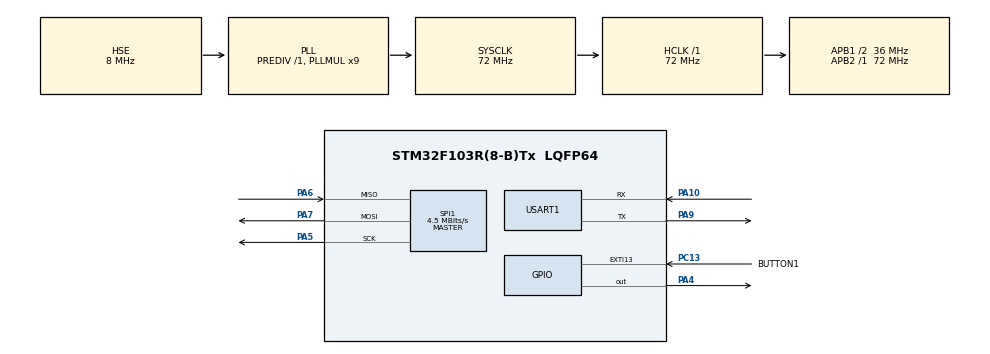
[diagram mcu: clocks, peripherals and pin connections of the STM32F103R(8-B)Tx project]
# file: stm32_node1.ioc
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FREERTOS.Tasks01=defaultTask,24,128,StartDefaultTask,Default,NULL,Dynamic,NULL,NULL
FREERTOS.configUSE_NEWLIB_REENTRANT=1
Mcu.Family=STM32F1
Mcu.Name=STM32F103R(8-B)Tx
Mcu.Package=LQFP64
NVIC.EXTI15_10_IRQn=true\:5\:0\:false\:false\:true\:true\:true\:true\:true
NVIC.PriorityGroup=NVIC_PRIORITYGROUP_4
NVIC.SPI1_IRQn=true\:5\:0\:false\:false\:true\:true\:true\:true\:true
NVIC.TIM2_IRQn=true\:15\:0\:false\:false\:true\:false\:false\:true\:true
NVIC.TimeBase=TIM2_IRQn
NVIC.TimeBaseIP=TIM2
NVIC.USART1_IRQn=true\:5\:0\:false\:false\:true\:true\:true\:true\:true
PA10.Mode=Asynchronous
PA10.Signal=USART1_RX
PA13.Mode=Serial_Wire
PA13.Signal=SYS_JTMS-SWDIO
PA14.Mode=Serial_Wire
PA14.Signal=SYS_JTCK-SWCLK
PA4.Signal=GPIO_Output
PA5.Mode=Full_Duplex_Master
PA5.Signal=SPI1_SCK
PA6.Mode=Full_Duplex_Master
PA6.Signal=SPI1_MISO
PA7.Mode=Full_Duplex_Master
PA7.Signal=SPI1_MOSI
PA9.Mode=Asynchronous
PA9.Signal=USART1_TX
PC13-TAMPER-RTC.GPIO_Label=BUTTON1
PC13-TAMPER-RTC.Signal=GPXTI13
PC14-OSC32_IN.Mode=LSE-External-Oscillator
PC14-OSC32_IN.Signal=RCC_OSC32_IN
PC15-OSC32_OUT.Mode=LSE-External-Oscillator
PC15-OSC32_OUT.Signal=RCC_OSC32_OUT
PD0-OSC_IN.Mode=HSE-External-Oscillator
PD0-OSC_IN.Signal=RCC_OSC_IN
PD1-OSC_OUT.Mode=HSE-External-Oscillator
PD1-OSC_OUT.Signal=RCC_OSC_OUT
ProjectManager.HeapSize=0x200
ProjectManager.StackSize=0x400
ProjectManager.TargetToolchain=STM32CubeIDE
RCC.AHBFreq_Value=72000000
RCC.APB1CLKDivider=RCC_HCLK_DIV2
RCC.APB1Freq_Value=36000000
RCC.APB1TimFreq_Value=72000000
RCC.APB2Freq_Value=72000000
RCC.APB2TimFreq_Value=72000000
RCC.HCLKFreq_Value=72000000
RCC.PLLMUL=RCC_PLL_MUL9
RCC.PLLSourceVirtual=RCC_PLLSOURCE_HSE
RCC.SYSCLKFreq_VALUE=72000000
RCC.SYSCLKSource=RCC_SYSCLKSOURCE_PLLCLK
RCC.USBFreq_Value=72000000
SPI1.BaudRatePrescaler=SPI_BAUDRATEPRESCALER_16
SPI1.CalculateBaudRate=4.5 MBits/s
SPI1.Direction=SPI_DIRECTION_2LINES
SPI1.Mode=SPI_MODE_MASTER
SPI1.VirtualType=VM_MASTER
USART1.VirtualMode=VM_ASYNC
VP_FREERTOS_VS_CMSIS_V2.Mode=CMSIS_V2
VP_SYS_VS_tim2.Mode=TIM2
board=custom

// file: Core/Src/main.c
/* USER CODE BEGIN Header */
/**
  ******************************************************************************
  * @file           : main.c
  * @brief          : Main program body
  ******************************************************************************
  * @attention
  *
  * Copyright (c) 2025 STMicroelectronics.
  * All rights reserved.
  *
  * This software is licensed under terms that can be found in the LICENSE file
  * in the root directory of this software component.
  * If no LICENSE file comes with this software, it is provided AS-IS.
  *
  ******************************************************************************
  */
/* USER CODE END Header */
#include "main.h"
#include "cmsis_os.h"
#include "spi.h"
#include "usart.h"
#include "gpio.h"

/* USER CODE BEGIN Includes */
#include <stdio.h>
#include "drivers/mcp2515/mcp2515_comm.h"

/* USER CODE END Includes */

void SystemClock_Config(void);
void MX_FREERTOS_Init(void);

/* USER CODE BEGIN 0 */
#include "usart.h"  // CubeMX가 생성한 UART 핸들러 선언

int _write(int file, char *ptr, int len)
{
    // UART 송신 (Blocking)
    HAL_UART_Transmit(&huart1, (uint8_t *)ptr, len, HAL_MAX_DELAY);
    return len;
}

void vApplicationMallocFailedHook(void) {
    printf("ERROR: FreeRTOS malloc failed!\r\n");
    while (1);  // 무한 루프로 디버깅 멈추게
}

/* USER CODE END 0 */

int main(void)
{

  /* MCU Configuration--------------------------------------------------------*/

  /* Reset of all peripherals, Initializes the Flash interface and the Systick. */
  HAL_Init();

  /* Configure the system clock */
  SystemClock_Config();

  /* Initialize all configured peripherals */
  MX_GPIO_Init();
  MX_USART1_UART_Init();
  MX_SPI1_Init();
  /* USER CODE BEGIN 2 */
  HAL_Delay(2000);  // UART 준비될 시간 확보
  printf("Hello from STM32 debug console!\r\n");

  printf("MCP2515 init %s.\r\n", MCP2515_Initialize() == HAL_OK ? "success" : "failed");
  printf("MCP2515 InitMessageQueues %s.\r\n", MCP2515_InitMessageQueues() == HAL_OK ? "success" : "failed");
  /* USER CODE END 2 */

  /* Init scheduler */
  osKernelInitialize();

  /* Call init function for freertos objects (in cmsis_os2.c) */
  MX_FREERTOS_Init();

  /* Start scheduler */
  osKernelStart();

  /* We should never get here as control is now taken by the scheduler */

  /* Infinite loop */
  while (1)
  {

  }
}

void SystemClock_Config(void)
{
  RCC_OscInitTypeDef RCC_OscInitStruct = {0};
  RCC_ClkInitTypeDef RCC_ClkInitStruct = {0};

  /** Initializes the RCC Oscillators according to the specified parameters
  * in the RCC_OscInitTypeDef structure.
  */
  RCC_OscInitStruct.OscillatorType = RCC_OSCILLATORTYPE_HSE;
  RCC_OscInitStruct.HSEState = RCC_HSE_ON;
  RCC_OscInitStruct.HSEPredivValue = RCC_HSE_PREDIV_DIV1;
  RCC_OscInitStruct.HSIState = RCC_HSI_ON;
  RCC_OscInitStruct.PLL.PLLState = RCC_PLL_ON;
  RCC_OscInitStruct.PLL.PLLSource = RCC_PLLSOURCE_HSE;
  RCC_OscInitStruct.PLL.PLLMUL = RCC_PLL_MUL9;
  if (HAL_RCC_OscConfig(&RCC_OscInitStruct) != HAL_OK)
  {
    Error_Handler();
  }

  /** Initializes the CPU, AHB and APB buses clocks
  */
  RCC_ClkInitStruct.ClockType = RCC_CLOCKTYPE_HCLK|RCC_CLOCKTYPE_SYSCLK
                              |RCC_CLOCKTYPE_PCLK1|RCC_CLOCKTYPE_PCLK2;
  RCC_ClkInitStruct.SYSCLKSource = RCC_SYSCLKSOURCE_PLLCLK;
  RCC_ClkInitStruct.AHBCLKDivider = RCC_SYSCLK_DIV1;
  RCC_ClkInitStruct.APB1CLKDivider = RCC_HCLK_DIV2;
  RCC_ClkInitStruct.APB2CLKDivider = RCC_HCLK_DIV1;

  if (HAL_RCC_ClockConfig(&RCC_ClkInitStruct, FLASH_LATENCY_2) != HAL_OK)
  {
    Error_Handler();
  }
}

void HAL_TIM_PeriodElapsedCallback(TIM_HandleTypeDef *htim)
{
  if (htim->Instance == TIM2)
  {
    HAL_IncTick();
  }
}

void Error_Handler(void)
{
  __disable_irq();
  while (1)
  {
  }
}

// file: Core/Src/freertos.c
/* USER CODE BEGIN Header */
/**
  ******************************************************************************
  * File Name          : freertos.c
  * Description        : Code for freertos applications
  ******************************************************************************
  * @attention
  *
  * Copyright (c) 2025 STMicroelectronics.
  * All rights reserved.
  *
  * This software is licensed under terms that can be found in the LICENSE file
  * in the root directory of this software component.
  * If no LICENSE file comes with this software, it is provided AS-IS.
  *
  ******************************************************************************
  */
/* USER CODE END Header */

#include "FreeRTOS.h"
#include "task.h"
#include "main.h"
#include "cmsis_os.h"

/* USER CODE BEGIN Includes */
#include <stdio.h>
#include "tasks/can_tx_task.h"
#include "tasks/can_rx_task.h"
#include "tasks/can_app.h"

/* USER CODE END Includes */

/* USER CODE BEGIN Variables */
/* Definitions for canTxTask */
osThreadId_t canTxTaskHandle;
const osThreadAttr_t canTxTask_attributes = {
  .name = "canTxTask",
  .stack_size = 128 * 4,
  .priority = (osPriority_t) osPriorityLow,
};

/* Definitions for canRxTask */
osThreadId_t canRxTaskHandle;
const osThreadAttr_t canRxTask_attributes = {
  .name = "canRxTask",
  .stack_size = 128 * 4,
  .priority = (osPriority_t) osPriorityLow,
};

/* Definitions for canAppTask */
osThreadId_t canAppTaskHandle;
const osThreadAttr_t canAppTask_attributes = {
  .name = "canAppTask",
  .stack_size = 512 * 4,
  .priority = (osPriority_t) osPriorityLow,
};

/* USER CODE END Variables */
/* Definitions for defaultTask */
osThreadId_t defaultTaskHandle;
const osThreadAttr_t defaultTask_attributes = {
  .name = "defaultTask",
  .stack_size = 128 * 4,
  .priority = (osPriority_t) osPriorityNormal,
};

/* USER CODE BEGIN FunctionPrototypes */
void Debug_PrintMemoryStatus(void) {
    size_t heap_free = xPortGetFreeHeapSize();
    size_t heap_min_ever_free = xPortGetMinimumEverFreeHeapSize();

    printf("[MEM] Free heap now: %u bytes\r\n", (unsigned int)heap_free);
    printf("[MEM] Min ever free heap: %u bytes\r\n", (unsigned int)heap_min_ever_free);

    // 전체 태스크 스택 사용량도 보고 싶다면 (선택사항)
    UBaseType_t task_count = uxTaskGetNumberOfTasks();
    printf("[MEM] Active tasks: %lu\r\n", (uint32_t)task_count);
}

static void CreateTaskOrDie(osThreadFunc_t func, const osThreadAttr_t *attr, osThreadId_t *handle, const char *name) {
    *handle = osThreadNew(func, NULL, attr);
    if (*handle == NULL) {
        printf("%s create failed!\r\n", name);
        Error_Handler();
    } else {
        printf("%s created successfully.\r\n", name);
    }
    printf("Free heap: %u bytes\r\n", (unsigned int)xPortGetFreeHeapSize());
}

/* USER CODE END FunctionPrototypes */

void StartDefaultTask(void *argument);

void MX_FREERTOS_Init(void); /* (MISRA C 2004 rule 8.1) */

void MX_FREERTOS_Init(void) {

  /* Create the thread(s) */
  /* creation of defaultTask */
  defaultTaskHandle = osThreadNew(StartDefaultTask, NULL, &defaultTask_attributes);

  /* USER CODE BEGIN RTOS_THREADS */
  CreateTaskOrDie(StartCanTxTask, &canTxTask_attributes, &canTxTaskHandle, "canTxTask");
  CreateTaskOrDie(StartCanRxTask, &canRxTask_attributes, &canRxTaskHandle, "canRxTask");
  CreateTaskOrDie(AppCatorTask, &canAppTask_attributes, &canAppTaskHandle, "canAppTask");

  Debug_PrintMemoryStatus();

  /* USER CODE END RTOS_THREADS */

}

void StartDefaultTask(void *argument)
{
  for(;;)
  {
    osDelay(1);
  }
}
